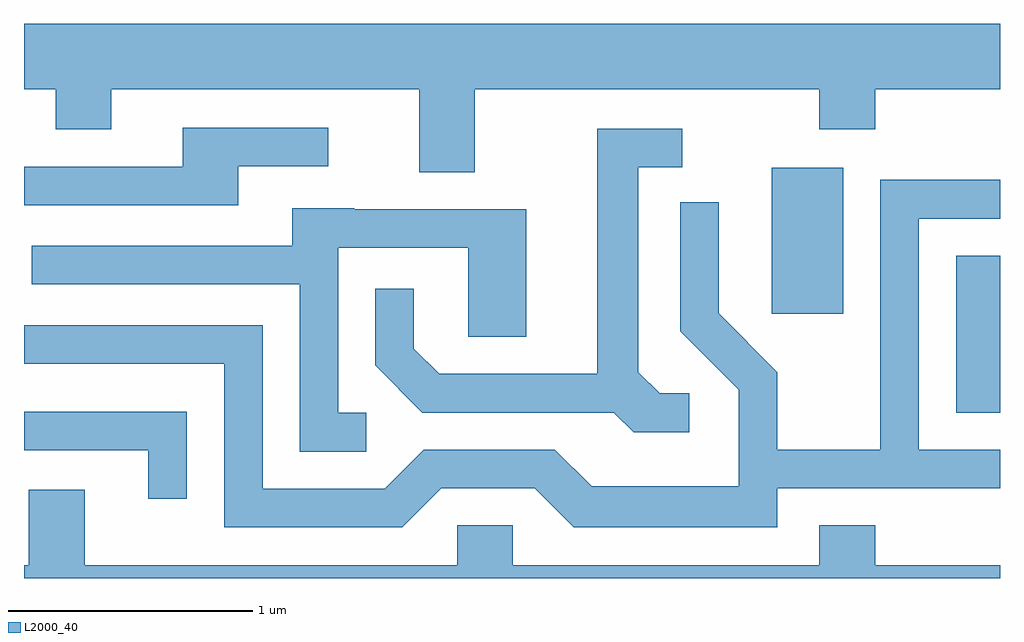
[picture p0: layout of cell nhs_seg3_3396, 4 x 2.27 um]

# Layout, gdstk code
import gdstk
lib = gdstk.Library(unit=1e-6, precision=1e-09)
def R(c, l, rs):  # rectangles x0, y0, x1, y1
    for r in rs: c.add(gdstk.rectangle(r[:2], r[2:], *l))
def P(c, l, *ps):  # polygons
    for p in ps: c.add(gdstk.Polygon(p, *l))
L2000_40 = (2000, 40)

nhs_seg3_3396 = lib.new_cell('nhs_seg3_3396')
R(nhs_seg3_3396, L2000_40, [(287.431,1244.571,287.611,1245.214), (286.676,1244.976,286.969,1245.574)])
P(nhs_seg3_3396, L2000_40, [(285.459,1245.896),(286.871,1245.896),(286.871,1245.731),(287.099,1245.731),(287.099,1245.896),(287.611,1245.896),(287.611,1246.164),(283.611,1246.164),(283.611,1245.896),(283.741,1245.896),(283.741,1245.731),(283.969,1245.731),(283.969,1245.896),(285.231,1245.896),(285.231,1245.556),(285.459,1245.556)],
  [(284.489,1245.581),(284.858,1245.581),(284.858,1245.739),(284.261,1245.739),(284.261,1245.579),(283.611,1245.579),(283.611,1245.421),(284.489,1245.421)],
  [(286.338,1244.649),(286.217,1244.649),(286.129,1244.737),(286.129,1245.576),(286.308,1245.576),(286.308,1245.734),(285.961,1245.734),(285.961,1244.729),(285.312,1244.729),(285.209,1244.832),(285.209,1245.078),(285.051,1245.078),(285.051,1244.764),(285.244,1244.571),(286.029,1244.571),(286.109,1244.491),(286.338,1244.491)],
  [(285.322,1244.261),(285.704,1244.261),(285.864,1244.101),(286.699,1244.101),(286.699,1244.261),(287.611,1244.261),(287.611,1244.419),(287.279,1244.419),(287.279,1245.366),(287.611,1245.366),(287.611,1245.524),(287.121,1245.524),(287.121,1244.419),(286.699,1244.419),(286.699,1244.737),(286.459,1244.977),(286.459,1245.433),(286.301,1245.433),(286.301,1244.904),(286.541,1244.664),(286.541,1244.269),(285.937,1244.269),(285.787,1244.419),(285.249,1244.419),(285.089,1244.259),(284.589,1244.259),(284.589,1244.929),(283.611,1244.929),(283.611,1244.771),(284.431,1244.771),(284.431,1244.101),(285.162,1244.101)],
  [(285.013,1244.569),(284.899,1244.569),(284.899,1245.246),(285.431,1245.246),(285.431,1244.881),(285.669,1244.881),(285.669,1245.404),(284.965,1245.404),(284.965,1245.409),(284.711,1245.409),(284.711,1245.254),(283.643,1245.254),(283.643,1245.096),(284.741,1245.096),(284.741,1244.411),(285.013,1244.411)],
  [(284.279,1244.574),(283.611,1244.574),(283.611,1244.416),(284.121,1244.416),(284.121,1244.218),(284.279,1244.218)],
  [(287.611,1243.944),(287.099,1243.944),(287.099,1244.109),(286.871,1244.109),(286.871,1243.944),(285.614,1243.944),(285.614,1244.109),(285.386,1244.109),(285.386,1243.944),(283.859,1243.944),(283.859,1244.254),(283.631,1244.254),(283.631,1243.944),(283.611,1243.944),(283.611,1243.892),(287.611,1243.892)])

lib.write_gds('nhs_seg3_3396.gds')
